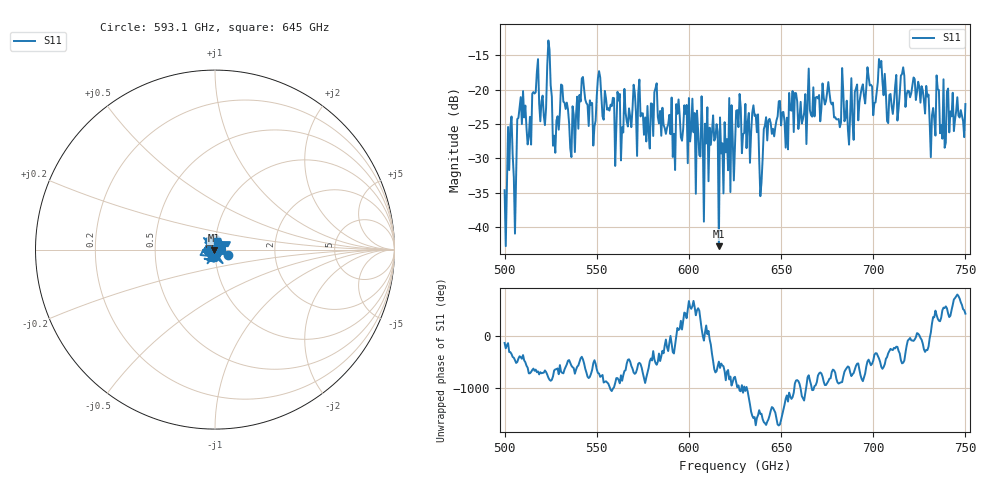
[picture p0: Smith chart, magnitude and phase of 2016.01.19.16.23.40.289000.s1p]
!Created with skrf (http://scikit-rf.org).
# GHz S RI R 50.0
!freq ReS11 ImS11
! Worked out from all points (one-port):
!   401 points, 500 GHz to 750 GHz, reference 50 ohm
!   lowest |S11| = -42.8 dB at 616.2 GHz (marker M1), VSWR 1.01, Z = 49.5 - j0.472 ohm
!   |S11| at or under -10 dB: start of sweep to end of sweep
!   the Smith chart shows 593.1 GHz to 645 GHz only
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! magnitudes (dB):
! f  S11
! 500 GHz  -34.6
! 503.1 GHz  -25.4
! 505.6 GHz  -41.0
! 508.8 GHz  -21.1
! 513.1 GHz  -26.9
! 516.9 GHz  -20.4
! 520.6 GHz  -20.9
! 524.4 GHz  -14.2
! 527.5 GHz  -29.2
! 531.2 GHz  -19.4
! 536.9 GHz  -22.4
! 541.9 GHz  -18.4
! 548.1 GHz  -28.1
! 551.2 GHz  -17.3
! 562.5 GHz  -20.6
! 593.8 GHz  -23.5
! 616.2 GHz  -42.8
! 625 GHz  -28.4
! 626.9 GHz  -25.5
! 636.2 GHz  -23.6
! 639.4 GHz  -33.5
! 641.9 GHz  -24.0
! 656.2 GHz  -20.2
! 687.5 GHz  -23.5
! 703.8 GHz  -16.8
! 708.8 GHz  -20.8
! 718.8 GHz  -20.1
! 750 GHz  -22.1
